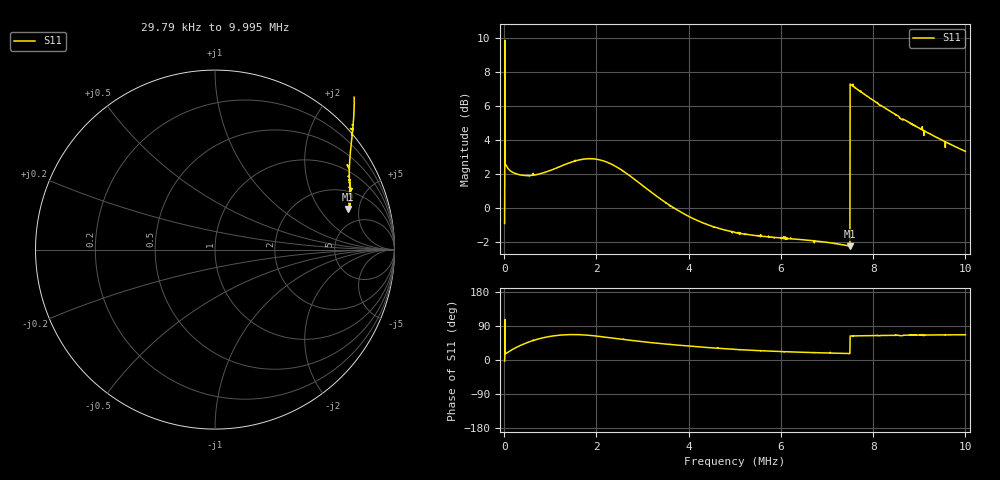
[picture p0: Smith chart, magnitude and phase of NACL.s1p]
# HZ S RI R 50
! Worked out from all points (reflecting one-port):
!   2020 points, 10 kHz to 10 MHz, reference 50 ohm
!   lowest |S11| = -2.2 dB at 7.496 MHz (marker M1), VSWR 7.80, Z = 168 + j190 ohm
!   phase of S11 starts at -3 deg and turns +69 deg over the sweep
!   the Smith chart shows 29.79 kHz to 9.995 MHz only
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10000  0.8995 -0.0455
64428  1.247 0.4354
69376  1.24 0.4428
74324  1.234 0.4501
188128  1.121 0.6023
306880  1.018 0.7332
579020  0.8109 0.946
930328  0.624 1.116
1261844  0.5386 1.219
1543880  0.5413 1.27
1870448  0.5945 1.263
2152484  0.6652 1.204
2508740  0.7371 1.073
3171772  0.7751 0.8048
3760584  0.763 0.6244
4344448  0.7512 0.4976
5007480  0.7482 0.3968
6254376  0.7564 0.2939
7446844  0.7404 0.2288
7496324  0.7388 0.2266
7506220  1.036 2.065
7550752  1.017 2.045
8055448  0.8798 1.847
8510664  0.7847 1.699
8594780  0.7976 1.646
8753116  0.7414 1.629
9144008  0.6839 1.528
1.000001e7  0.5825 1.346
